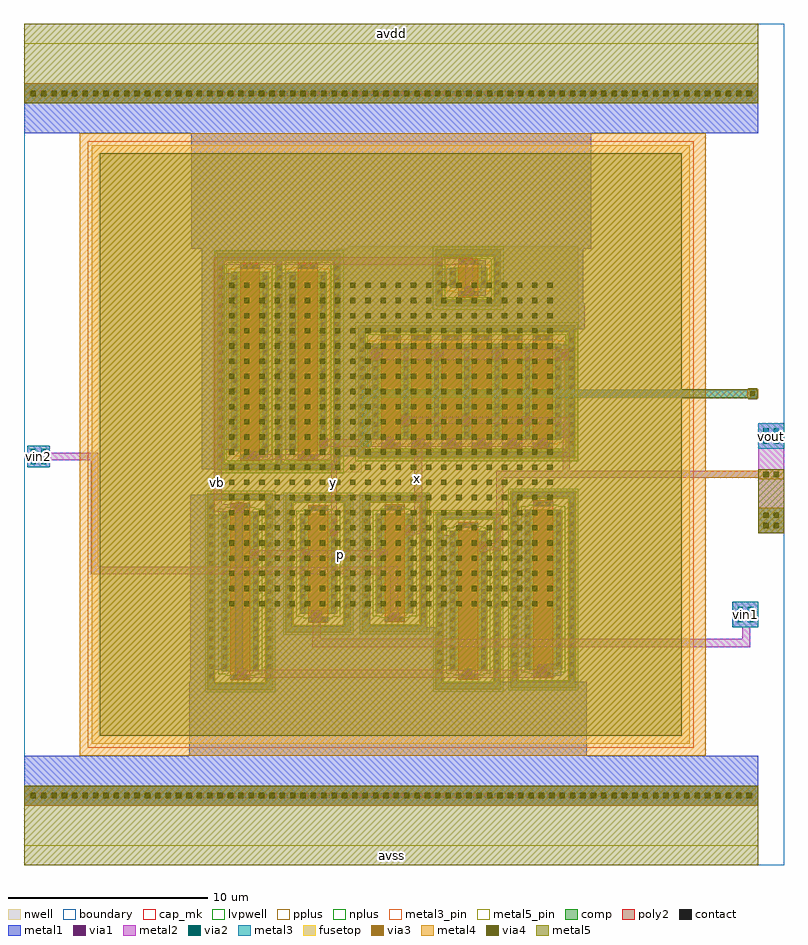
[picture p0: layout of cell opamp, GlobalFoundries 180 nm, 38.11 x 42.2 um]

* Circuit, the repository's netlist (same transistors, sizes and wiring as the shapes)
** sch_path: /foss/designs/libs/snn_analog/sch/opamp/opamp.sch
.subckt opamp avdd avss vin1 vin2 vout
*.PININFO avdd:B avss:B vin1:I vin2:I vout:O
M1 y vin1 net1 avss nfet_03v3 L=1u W=5u nf=1
M2 x vin2 net1 avss nfet_03v3 L=1u W=5u nf=1
M3 y y avdd avdd pfet_03v3 L=1u W=9u nf=1
M4 x y avdd avdd pfet_03v3 L=1u W=9u nf=1
M5 net1 vb avss avss nfet_03v3 L=1u W=8u nf=1
M6 vout x avdd avdd pfet_03v3 L=1u W=28.8u nf=6
M7 vout vb avss avss nfet_03v3 L=1u W=7u nf=1
M8 vb vb avss avss nfet_03v3 L=1u W=8u nf=1
M9 vb vb avdd avdd pfet_03v3 L=1u W=1u nf=1
XC1 x vout cap_mim_2f0fF c_width=30e-6 c_length=30e-6
.ends

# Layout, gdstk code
from math import pi, radians
import gdstk
lib = gdstk.Library(unit=1e-6, precision=1e-09)
def R(c, l, rs):  # rectangles x0, y0, x1, y1
    for r in rs: c.add(gdstk.rectangle(r[:2], r[2:], *l))
def A(c, l, x, y, w, h, nx, ny, dx, dy):  # array of equal rectangles
    R(c, l, [(x+i*dx, y+j*dy, x+i*dx+w, y+j*dy+h) for i in range(nx) for j in range(ny)])
boundary = (0, 0)
nwell = (21, 0)
comp = (22, 0)
poly2 = (30, 0)
pplus = (31, 0)
nplus = (32, 0)
contact = (33, 0)
metal1 = (34, 0)
via1 = (35, 0)
metal2 = (36, 0)
via2 = (38, 0)
via3 = (40, 0)
via4 = (41, 0)
metal3 = (42, 0)
metal3_pin = (42, 10)
metal4 = (46, 0)
fusetop = (75, 0)
metal5 = (81, 0)
metal5_pin = (81, 10)
cap_mk = (117, 5)
lvpwell = (204, 0)

pfet_03v3_u949mw = lib.new_cell('pfet_03v3_U949MW')
R(pfet_03v3_u949mw, boundary, [(-5.25,-3.15,5.25,3.15)])
R(pfet_03v3_u949mw, nwell, [(-5.55,-3.45,5.55,3.45)])
R(pfet_03v3_u949mw, comp, [(-5.43,-3.33,5.43,-2.97), (-5.43,-2.97,-5.07,2.97), (5.07,-2.97,5.43,2.97), (-4.74,-2.4,4.74,2.4), (-5.43,2.97,5.43,3.33)])
A(pfet_03v3_u949mw, poly2, -4.3, -2.86, 1, 5.72, 6, 1, 1.52, 0)
R(pfet_03v3_u949mw, pplus, [(-4.53,-2.63,4.53,-2.56), (-4.9,-2.56,4.9,2.56), (-4.53,2.56,4.53,2.63)])
R(pfet_03v3_u949mw, nplus, [(-5.59,-3.49,5.59,-2.86), (-5.59,-2.86,-4.96,2.86), (4.96,-2.86,5.59,2.86), (-5.59,2.86,5.59,3.49)])
A(pfet_03v3_u949mw, contact, -5.36, -2.695, 0.22, 0.22, 1, 12, 0, 0.47)
A(pfet_03v3_u949mw, contact, 5.14, -2.695, 0.22, 0.22, 1, 12, 0, 0.47)
A(pfet_03v3_u949mw, contact, -4.67, -2.225, 0.22, 0.22, 7, 10, 1.52, 0.47)
R(pfet_03v3_u949mw, contact, [(-4.145,-2.79,-3.925,-2.57), (-3.675,-2.79,-3.455,-2.57), (-2.625,-2.79,-2.405,-2.57), (-2.155,-2.79,-1.935,-2.57), (-1.105,-2.79,-0.885,-2.57), (-0.635,-2.79,-0.415,-2.57), (0.415,-2.79,0.635,-2.57), (0.885,-2.79,1.105,-2.57), (1.935,-2.79,2.155,-2.57), (2.405,-2.79,2.625,-2.57), (3.455,-2.79,3.675,-2.57), (3.925,-2.79,4.145,-2.57), (-4.145,2.57,-3.925,2.79), (-3.675,2.57,-3.455,2.79), (-2.625,2.57,-2.405,2.79), (-2.155,2.57,-1.935,2.79), (-1.105,2.57,-0.885,2.79), (-0.635,2.57,-0.415,2.79), (0.415,2.57,0.635,2.79), (0.885,2.57,1.105,2.79), (1.935,2.57,2.155,2.79), (2.405,2.57,2.625,2.79), (3.455,2.57,3.675,2.79), (3.925,2.57,4.145,2.79)])
A(pfet_03v3_u949mw, metal1, -4.29, -2.795, 0.98, 0.23, 6, 2, 1.52, 5.36)
A(pfet_03v3_u949mw, metal1, -4.675, -2.39, 0.23, 4.78, 7, 1, 1.52, 0)
R(pfet_03v3_u949mw, metal1, [(-5.365,-3.265,5.365,-3.035), (-5.365,-3.035,-5.135,3.035), (5.135,-3.035,5.365,3.035), (-5.365,3.035,5.365,3.265)])

nfet_03v3_ctt5vy = lib.new_cell('nfet_03v3_CTT5VY')
R(nfet_03v3_ctt5vy, boundary, [(-1.45,-3.25,1.45,3.25)])
R(nfet_03v3_ctt5vy, comp, [(-1.63,-3.43,1.63,-3.07), (-1.63,-3.07,-1.27,3.07), (1.27,-3.07,1.63,3.07), (-0.94,-2.5,0.94,2.5), (-1.63,3.07,1.63,3.43)])
R(nfet_03v3_ctt5vy, poly2, [(-0.5,-2.96,0.5,2.96)])
R(nfet_03v3_ctt5vy, pplus, [(-1.65,-3.45,1.65,-3.05), (-1.65,-3.05,-1.24,-2.795), (1.24,-3.05,1.65,-2.795), (-1.66,-2.795,-1.24,2.795), (1.24,-2.795,1.66,2.795), (-1.65,2.795,-1.24,3.05), (1.24,2.795,1.65,3.05), (-1.65,3.05,1.65,3.45)])
R(nfet_03v3_ctt5vy, nplus, [(-0.73,-2.73,0.73,-2.66), (-1.1,-2.66,1.1,2.66), (-0.73,2.66,0.73,2.73)])
A(nfet_03v3_ctt5vy, contact, -1.56, -2.695, 0.22, 0.22, 1, 12, 0, 0.47)
A(nfet_03v3_ctt5vy, contact, 1.34, -2.695, 0.22, 0.22, 1, 12, 0, 0.47)
A(nfet_03v3_ctt5vy, contact, -0.87, -2.225, 0.22, 0.22, 1, 10, 0, 0.47)
A(nfet_03v3_ctt5vy, contact, 0.65, -2.225, 0.22, 0.22, 1, 10, 0, 0.47)
R(nfet_03v3_ctt5vy, contact, [(-0.345,-2.89,-0.125,-2.67), (0.125,-2.89,0.345,-2.67), (-0.345,2.67,-0.125,2.89), (0.125,2.67,0.345,2.89)])
R(nfet_03v3_ctt5vy, metal1, [(-1.565,-3.365,1.565,-3.135), (-1.565,-3.135,-1.335,3.135), (1.335,-3.135,1.565,3.135), (-0.49,-2.895,0.49,-2.665), (-0.875,-2.49,-0.645,2.49), (0.645,-2.49,0.875,2.49), (-0.49,2.665,0.49,2.895), (-1.565,3.135,1.565,3.365)])
R(nfet_03v3_ctt5vy, lvpwell, [(-1.75,-3.55,1.75,3.55)])

pfet_03v3_5mdbd5 = lib.new_cell('pfet_03v3_5MDBD5')
R(pfet_03v3_5mdbd5, boundary, [(-1.45,-5.25,1.45,5.25)])
R(pfet_03v3_5mdbd5, nwell, [(-1.75,-5.55,1.75,5.55)])
R(pfet_03v3_5mdbd5, comp, [(-1.63,-5.43,1.63,-5.07), (-1.63,-5.07,-1.27,5.07), (1.27,-5.07,1.63,5.07), (-0.94,-4.5,0.94,4.5), (-1.63,5.07,1.63,5.43)])
R(pfet_03v3_5mdbd5, poly2, [(-0.5,-4.96,0.5,4.96)])
R(pfet_03v3_5mdbd5, pplus, [(-0.73,-4.73,0.73,-4.66), (-1.1,-4.66,1.1,4.66), (-0.73,4.66,0.73,4.73)])
R(pfet_03v3_5mdbd5, nplus, [(-1.79,-5.59,1.79,-4.96), (-1.79,-4.96,-1.16,4.96), (1.16,-4.96,1.79,4.96), (-1.79,4.96,1.79,5.59)])
A(pfet_03v3_5mdbd5, contact, -1.56, -4.81, 0.22, 0.22, 1, 21, 0, 0.47)
A(pfet_03v3_5mdbd5, contact, 1.34, -4.81, 0.22, 0.22, 1, 21, 0, 0.47)
A(pfet_03v3_5mdbd5, contact, -0.87, -4.34, 0.22, 0.22, 1, 19, 0, 0.47)
A(pfet_03v3_5mdbd5, contact, 0.65, -4.34, 0.22, 0.22, 1, 19, 0, 0.47)
R(pfet_03v3_5mdbd5, contact, [(-0.345,-4.89,-0.125,-4.67), (0.125,-4.89,0.345,-4.67), (-0.345,4.67,-0.125,4.89), (0.125,4.67,0.345,4.89)])
R(pfet_03v3_5mdbd5, metal1, [(-1.565,-5.365,1.565,-5.135), (-1.565,-5.135,-1.335,5.135), (1.335,-5.135,1.565,5.135), (-0.49,-4.895,0.49,-4.665), (-0.875,-4.49,-0.645,4.49), (0.645,-4.49,0.875,4.49), (-0.49,4.665,0.49,4.895), (-1.565,5.135,1.565,5.365)])

nfet_03v3_jwtltl = lib.new_cell('nfet_03v3_JWTLTL')
R(nfet_03v3_jwtltl, boundary, [(-1.45,-4.75,1.45,4.75)])
R(nfet_03v3_jwtltl, comp, [(-1.63,-4.93,1.63,-4.57), (-1.63,-4.57,-1.27,4.57), (1.27,-4.57,1.63,4.57), (-0.94,-4,0.94,4), (-1.63,4.57,1.63,4.93)])
R(nfet_03v3_jwtltl, poly2, [(-0.5,-4.46,0.5,4.46)])
R(nfet_03v3_jwtltl, pplus, [(-1.65,-4.95,1.65,-4.55), (-1.65,-4.55,-1.24,-4.44), (1.24,-4.55,1.65,-4.44), (-1.66,-4.44,-1.24,4.44), (1.24,-4.44,1.66,4.44), (-1.65,4.44,-1.24,4.55), (1.24,4.44,1.65,4.55), (-1.65,4.55,1.65,4.95)])
R(nfet_03v3_jwtltl, nplus, [(-0.73,-4.23,0.73,-4.16), (-1.1,-4.16,1.1,4.16), (-0.73,4.16,0.73,4.23)])
A(nfet_03v3_jwtltl, contact, -1.56, -4.34, 0.22, 0.22, 1, 19, 0, 0.47)
A(nfet_03v3_jwtltl, contact, 1.34, -4.34, 0.22, 0.22, 1, 19, 0, 0.47)
A(nfet_03v3_jwtltl, contact, -0.87, -3.87, 0.22, 0.22, 1, 17, 0, 0.47)
A(nfet_03v3_jwtltl, contact, 0.65, -3.87, 0.22, 0.22, 1, 17, 0, 0.47)
R(nfet_03v3_jwtltl, contact, [(-0.345,-4.39,-0.125,-4.17), (0.125,-4.39,0.345,-4.17), (-0.345,4.17,-0.125,4.39), (0.125,4.17,0.345,4.39)])
R(nfet_03v3_jwtltl, metal1, [(-1.565,-4.865,1.565,-4.635), (-1.565,-4.635,-1.335,4.635), (1.335,-4.635,1.565,4.635), (-0.49,-4.395,0.49,-4.165), (-0.875,-3.99,-0.645,3.99), (0.645,-3.99,0.875,3.99), (-0.49,4.165,0.49,4.395), (-1.565,4.635,1.565,4.865)])
R(nfet_03v3_jwtltl, lvpwell, [(-1.75,-5.05,1.75,5.05)])

via_dev = lib.new_cell('via_dev')
R(via_dev, metal2, [(0,0,1.08,1.13)])
R(via_dev, via2, [(0.15,0.175,0.41,0.435), (0.67,0.175,0.93,0.435), (0.15,0.695,0.41,0.955), (0.67,0.695,0.93,0.955)])
R(via_dev, metal3, [(0,0,1.08,1.13)])

via_dev_1 = lib.new_cell('via_dev$1')
R(via_dev_1, via4, [(0.12,0.255,0.38,0.515), (0.12,0.775,0.38,1.035)])
R(via_dev_1, metal4, [(0,0,0.5,1.29)])
R(via_dev_1, metal5, [(0,0,0.5,1.29)])

via_dev_12_1 = lib.new_cell('via_dev$12$1')
R(via_dev_12_1, metal2, [(0,0,1.285,1.29)])
R(via_dev_12_1, via2, [(0.25,0.255,0.51,0.515), (0.77,0.255,1.03,0.515), (0.25,0.775,0.51,1.035), (0.77,0.775,1.03,1.035)])
R(via_dev_12_1, metal3, [(0,0,1.285,1.29)])

nfet_03v3_hvw9xu = lib.new_cell('nfet_03v3_HVW9XU')
R(nfet_03v3_hvw9xu, boundary, [(-1.45,-4.25,1.45,4.25)])
R(nfet_03v3_hvw9xu, comp, [(-1.63,-4.43,1.63,-4.07), (-1.63,-4.07,-1.27,4.07), (1.27,-4.07,1.63,4.07), (-0.94,-3.5,0.94,3.5), (-1.63,4.07,1.63,4.43)])
R(nfet_03v3_hvw9xu, poly2, [(-0.5,-3.96,0.5,3.96)])
R(nfet_03v3_hvw9xu, pplus, [(-1.65,-4.45,1.65,-4.05), (-1.65,-4.05,-1.24,-3.735), (1.24,-4.05,1.65,-3.735), (-1.66,-3.735,-1.24,3.735), (1.24,-3.735,1.66,3.735), (-1.65,3.735,-1.24,4.05), (1.24,3.735,1.65,4.05), (-1.65,4.05,1.65,4.45)])
R(nfet_03v3_hvw9xu, nplus, [(-0.73,-3.73,0.73,-3.66), (-1.1,-3.66,1.1,3.66), (-0.73,3.66,0.73,3.73)])
A(nfet_03v3_hvw9xu, contact, -1.56, -3.635, 0.22, 0.22, 1, 16, 0, 0.47)
A(nfet_03v3_hvw9xu, contact, 1.34, -3.635, 0.22, 0.22, 1, 16, 0, 0.47)
A(nfet_03v3_hvw9xu, contact, -0.87, -3.4, 0.22, 0.22, 1, 15, 0, 0.47)
A(nfet_03v3_hvw9xu, contact, 0.65, -3.4, 0.22, 0.22, 1, 15, 0, 0.47)
R(nfet_03v3_hvw9xu, contact, [(-0.345,-3.89,-0.125,-3.67), (0.125,-3.89,0.345,-3.67), (-0.345,3.67,-0.125,3.89), (0.125,3.67,0.345,3.89)])
R(nfet_03v3_hvw9xu, metal1, [(-1.565,-4.365,1.565,-4.135), (-1.565,-4.135,-1.335,4.135), (1.335,-4.135,1.565,4.135), (-0.49,-3.895,0.49,-3.665), (-0.875,-3.49,-0.645,3.49), (0.645,-3.49,0.875,3.49), (-0.49,3.665,0.49,3.895), (-1.565,4.135,1.565,4.365)])
R(nfet_03v3_hvw9xu, lvpwell, [(-1.75,-4.55,1.75,4.55)])

via_dev_13 = lib.new_cell('via_dev$13')
R(via_dev_13, metal2, [(0,0,1.29,1.29)])
R(via_dev_13, via2, [(0.255,0.255,0.515,0.515), (0.775,0.255,1.035,0.515), (0.255,0.775,0.515,1.035), (0.775,0.775,1.035,1.035)])
R(via_dev_13, metal3, [(0,0,1.29,1.29)])

via_dev_15 = lib.new_cell('via_dev$15')
R(via_dev_15, metal2, [(0,0,1.29,1.29)])
R(via_dev_15, via2, [(0.255,0.255,0.515,0.515), (0.775,0.255,1.035,0.515), (0.255,0.775,0.515,1.035), (0.775,0.775,1.035,1.035)])
R(via_dev_15, via3, [(0.255,0.255,0.515,0.515), (0.775,0.255,1.035,0.515), (0.255,0.775,0.515,1.035), (0.775,0.775,1.035,1.035)])
R(via_dev_15, via4, [(0.255,0.255,0.515,0.515), (0.775,0.255,1.035,0.515), (0.255,0.775,0.515,1.035), (0.775,0.775,1.035,1.035)])
R(via_dev_15, metal3, [(0,0,1.29,1.29)])
R(via_dev_15, metal4, [(0,0,1.29,1.29)])
R(via_dev_15, metal5, [(0,0,1.29,1.29)])

via_dev_7 = lib.new_cell('via_dev$7')
R(via_dev_7, metal1, [(0,0,1,36.815)])
A(via_dev_7, via1, 0.37, 0.255, 0.26, 0.26, 1, 69, 0, 0.53)
R(via_dev_7, metal2, [(0,0,1,36.815)])
A(via_dev_7, via2, 0.37, 0.335, 0.26, 0.26, 1, 70, 0, 0.52)
A(via_dev_7, via3, 0.37, 0.335, 0.26, 0.26, 1, 70, 0, 0.52)
A(via_dev_7, via4, 0.37, 0.335, 0.26, 0.26, 1, 70, 0, 0.52)
R(via_dev_7, metal3, [(0,0,1,36.815)])
R(via_dev_7, metal4, [(0,0,1,36.815)])
R(via_dev_7, metal5, [(0,0,1,36.815)])

pfet_03v3_9trv9f = lib.new_cell('pfet_03v3_9TRV9F')
R(pfet_03v3_9trv9f, boundary, [(-1.45,-1.25,1.45,1.25)])
R(pfet_03v3_9trv9f, nwell, [(-1.75,-1.55,1.75,1.55)])
R(pfet_03v3_9trv9f, comp, [(-1.63,-1.43,1.63,-1.07), (-1.63,-1.07,-1.27,1.07), (1.27,-1.07,1.63,1.07), (-0.94,-0.5,0.94,0.5), (-1.63,1.07,1.63,1.43)])
R(pfet_03v3_9trv9f, poly2, [(-0.5,-0.96,0.5,0.96)])
R(pfet_03v3_9trv9f, pplus, [(-0.73,-0.73,0.73,-0.66), (-1.1,-0.66,1.1,0.66), (-0.73,0.66,0.73,0.73)])
R(pfet_03v3_9trv9f, nplus, [(-1.79,-1.59,1.79,-0.96), (-1.79,-0.96,-1.16,0.96), (1.16,-0.96,1.79,0.96), (-1.79,0.96,1.79,1.59)])
A(pfet_03v3_9trv9f, contact, -1.56, -0.815, 0.22, 0.22, 1, 4, 0, 0.47)
A(pfet_03v3_9trv9f, contact, 1.34, -0.815, 0.22, 0.22, 1, 4, 0, 0.47)
R(pfet_03v3_9trv9f, contact, [(-0.345,-0.89,-0.125,-0.67), (0.125,-0.89,0.345,-0.67), (-0.87,-0.345,-0.65,-0.125), (0.65,-0.345,0.87,-0.125), (-0.87,0.125,-0.65,0.345), (0.65,0.125,0.87,0.345), (-0.345,0.67,-0.125,0.89), (0.125,0.67,0.345,0.89)])
R(pfet_03v3_9trv9f, metal1, [(-1.565,-1.365,1.565,-1.135), (-1.565,-1.135,-1.335,1.135), (1.335,-1.135,1.565,1.135), (-0.49,-0.895,0.49,-0.665), (-0.875,-0.49,-0.645,0.49), (0.645,-0.49,0.875,0.49), (-0.49,0.665,0.49,0.895), (-1.565,1.135,1.565,1.365)])

cap_mim_2p0ff_lvjl5f = lib.new_cell('cap_mim_2p0fF_LVJL5F')
R(cap_mim_2p0ff_lvjl5f, boundary, [(-16.2,-15.6,15,15.6)])
A(cap_mim_2p0ff_lvjl5f, via4, -8.71, -8.11, 0.26, 0.26, 22, 22, 0.76, 0.76)
R(cap_mim_2p0ff_lvjl5f, metal4, [(-16.2,-15.6,15.2,15.6)])
R(cap_mim_2p0ff_lvjl5f, fusetop, [(-15.6,-15,14.4,15)])
R(cap_mim_2p0ff_lvjl5f, metal5, [(-15.2,-14.6,14,14.6)])
R(cap_mim_2p0ff_lvjl5f, cap_mk, [(-15.8,-15.2,14.6,15.2)])

opamp = lib.new_cell('opamp')
R(opamp, boundary, [(0,0,38.105,42.2)])
R(opamp, nwell, [(15.65,19.7,16.935,27.02), (15.65,27.02,27.81,28.19), (15.65,28.19,20.665,30.91), (23.85,28.19,27.79,31.04), (16.28,30.91,20.665,31.04)])
R(opamp, pplus, [(20.235,11.69,20.615,12.345), (20.245,12.345,20.615,17), (20.245,17,20.625,17.715)])
R(opamp, metal1, [(0,3.5,36.815,5.5), (8.295,5.5,28.205,8.985), (8.295,8.985,9.57,9.195), (12.18,8.985,28.205,9.105), (12.18,9.105,20.935,9.195), (23.615,9.105,28.205,9.195), (8.34,9.195,9.415,9.8), (12.28,9.195,20.82,10.005), (22.095,9.36,22.485,9.855), (10.635,9.405,11.145,9.46), (10.595,9.46,11.145,9.795), (26.14,9.5,26.94,9.625), (25.74,9.625,26.94,10.015), (10.595,9.795,10.98,17.735), (8.34,9.8,10.145,17.57), (24.455,9.955,25.31,17.62), (12.28,10.005,21.57,11.785), (26.14,10.015,26.94,10.1), (12.26,11.785,21.57,11.94), (12.26,11.94,13.365,12.72), (16.09,11.94,17.35,17.815), (20.72,11.94,21.57,16.56), (18.315,12.235,18.825,12.665), (14.405,12.335,14.935,12.79), (12.28,12.72,13.365,17.5), (13.89,15.38,14.325,15.86), (11.33,15.395,11.77,15.845), (17.715,15.395,18.15,15.435), (17.71,15.435,18.15,15.805), (22.82,15.73,23.23,16.22), (17.715,15.805,18.15,15.845), (15.335,16.5,15.74,16.825), (19.145,16.54,19.58,17.055), (12.26,17.5,13.365,18.59), (8.34,17.57,9.415,18.575), (10.545,17.735,11.06,18.1), (16.245,17.815,17.35,18.575), (10.595,18.1,10.98,18.11), (8.9,19.87,9.88,20.825), (11.175,20.42,11.54,20.455), (11.175,20.455,12.21,20.735), (13.93,20.455,14.335,20.77), (15.68,20.5,16.955,21.4), (11.175,20.735,11.54,20.76), (11.93,20.735,12.21,21.03), (12.695,20.77,12.88,20.835), (8.9,20.825,10.665,29.68), (12.695,20.835,13.62,29.7), (14.82,20.91,15.235,21.435), (18.15,20.945,18.535,20.96), (21.23,20.945,21.615,20.975), (22.715,20.945,23.125,21.425), (24.285,20.945,24.695,21.425), (25.815,20.945,26.265,21.425), (18.135,20.96,18.55,21.485), (21.19,20.975,21.655,21.37), (19.505,20.98,20.04,21.405), (21.23,21.37,21.615,21.41), (15.68,21.4,17.69,25.335), (26.64,21.45,27.59,26.1), (18.95,22.06,19.34,22.55), (21.96,22.065,22.385,22.55), (24.995,22.08,25.485,22.525), (20.45,25.29,21.045,25.855), (23.465,25.315,24.06,25.88), (15.68,25.335,17.985,25.9), (15.68,25.9,17.69,26.05), (15.68,26.05,16.955,26.86), (15.68,26.86,20.78,26.875), (15.68,26.875,28.105,28.19), (15.68,28.19,20.78,29.05), (23.73,28.19,28.05,30.635), (22.51,28.565,23.145,28.675), (22.085,28.675,23.145,28.795), (22.085,28.795,22.57,29.04), (22.91,28.795,23.145,29.1), (15.68,29.05,21.64,29.9), (22.915,29.1,23.145,30.115), (8.9,29.68,9.88,30.545), (12.695,29.7,12.89,29.755), (15.68,29.9,20.78,30.545), (22.76,30.115,23.145,30.12), (21.965,30.12,23.145,30.35), (8.9,30.545,20.78,30.635), (8.9,30.635,28.05,30.91), (8.375,30.91,28.435,36.7), (0,36.7,36.815,38.7)])
R(opamp, via1, [(10.76,9.47,11.02,9.73), (22.16,9.47,22.42,9.73), (25.865,9.69,26.125,9.95), (18.435,12.335,18.695,12.595), (14.54,12.415,14.8,12.675), (11.42,15.49,11.68,15.75), (13.98,15.49,14.24,15.75), (17.8,15.49,18.06,15.75), (22.905,15.845,23.165,16.105), (15.405,16.55,15.665,16.81), (19.24,16.665,19.5,16.925), (10.67,17.785,10.93,18.045), (11.245,20.465,11.505,20.725), (14,20.475,14.26,20.735), (14.895,21.04,15.155,21.3), (21.29,21.04,21.55,21.3), (22.785,21.04,23.045,21.3), (24.355,21.04,24.615,21.3), (25.885,21.04,26.145,21.3), (18.21,21.045,18.47,21.305), (19.635,21.045,19.895,21.305), (19.005,22.175,19.265,22.435), (22.055,22.175,22.315,22.435), (25.11,22.175,25.37,22.435), (17.57,25.46,17.83,25.72), (20.625,25.47,20.885,25.73), (23.63,25.47,23.89,25.73), (26.945,25.47,27.205,25.73), (22.195,28.725,22.455,28.985)])
R(opamp, metal2, [(10.685,9.345,11.095,9.395), (10.685,9.395,26.2,9.805), (10.685,9.805,11.095,9.89), (25.79,9.805,26.2,10.105), (14.46,10.945,36.41,11.35), (14.465,11.35,14.875,12.335), (36,11.35,36.41,11.935), (35.525,11.935,36.815,13.22), (18.315,12.23,18.825,12.665), (14.405,12.335,14.935,12.79), (18.375,12.665,18.76,14.595), (3.34,14.595,18.76,14.98), (3.34,14.98,3.725,20.305), (18.375,14.98,18.76,14.99), (13.89,15.38,14.325,15.44), (11.33,15.395,11.77,15.44), (17.715,15.395,18.15,15.44), (11.33,15.44,18.25,15.8), (22.82,15.73,23.23,15.8), (11.33,15.8,11.77,15.845), (13.89,15.8,14.325,15.86), (17.715,15.8,18.15,15.845), (22.82,15.8,24.04,16.15), (22.82,16.15,23.23,16.22), (23.69,16.15,24.04,19.425), (15.335,16.5,15.74,16.825), (19.145,16.54,19.58,16.605), (19.14,16.605,19.96,16.99), (15.395,16.825,15.675,20.325), (19.145,16.99,19.96,17.055), (19.575,17.055,19.96,20.98), (10.625,17.67,11.01,17.675), (10.595,17.675,11.01,17.725), (9.52,17.725,11.01,18.11), (36.815,17.94,38.105,19.425), (9.52,18.11,9.905,30.11), (10.595,18.11,11.01,18.16), (10.625,18.16,11.01,18.22), (23.69,19.425,38.105,19.775), (25.065,19.775,25.415,19.795), (27.01,19.775,27.36,22.11), (36.815,19.775,38.105,20.875), (0.16,19.955,1.29,20.305), (0.16,20.305,3.725,20.685), (13.975,20.325,15.675,20.335), (11.235,20.335,15.675,20.42), (11.175,20.42,15.675,20.605), (11.175,20.605,14.335,20.615), (14.89,20.605,15.675,20.615), (11.175,20.615,11.54,20.76), (13.93,20.615,14.335,20.77), (0.16,20.685,1.29,21.035), (11.235,20.76,11.515,20.79), (14.82,20.91,15.235,20.98), (16.945,20.93,17.36,20.98), (21.235,20.935,21.61,20.945), (21.195,20.945,21.655,20.98), (22.715,20.945,23.125,20.98), (24.285,20.945,24.695,20.98), (25.815,20.945,26.265,20.98), (18.135,20.96,18.55,20.98), (14.795,20.98,26.265,21.365), (14.82,21.365,15.235,21.435), (16.945,21.365,17.36,21.415), (18.11,21.365,20.04,21.37), (21.195,21.365,21.655,21.41), (22.715,21.365,23.125,21.425), (24.285,21.365,24.695,21.425), (25.815,21.365,26.265,21.425), (18.135,21.37,18.55,21.485), (19.505,21.37,20.04,21.405), (25.065,22.035,25.415,22.08), (18.95,22.06,19.34,22.13), (21.96,22.065,22.385,22.13), (24.995,22.08,25.485,22.11), (24.88,22.11,27.36,22.13), (18.92,22.13,27.36,22.46), (18.92,22.46,25.485,22.48), (18.95,22.48,19.34,22.55), (21.96,22.48,22.385,22.55), (24.995,22.48,25.485,22.525), (17.39,25.335,27.32,25.865), (22.135,28.615,22.52,30.11), (9.52,30.11,22.52,30.495)])
R(opamp, via2, [(17.02,21.04,17.28,21.3)])
R(opamp, via3, [(36.405,23.515,36.665,23.775)])
R(opamp, via4, [(36.41,23.52,36.67,23.78)])
R(opamp, metal3, [(35.52,11.935,36.815,13.215), (0.16,19.955,1.29,21.035), (36.815,20.875,38.105,22.165), (16.895,20.98,17.41,21.365), (16.96,21.365,17.345,23.455), (16.96,23.455,36.78,23.84)])
R(opamp, metal3_pin, [(35.52,11.935,36.81,13.215), (0.16,19.955,1.29,21.035), (36.815,20.875,38.105,22.16)])
R(opamp, metal4, [(32.465,19.425,36.815,19.775), (36.345,23.405,36.73,23.43), (36.27,23.43,36.81,23.87), (36.345,23.87,36.73,23.89)])
R(opamp, metal5, [(0,0,36.815,3), (36.815,17.94,38.105,19.825), (36.32,23.38,36.76,23.43), (32.32,23.43,36.76,23.87), (36.32,23.87,36.76,23.92), (0,39.2,36.815,42.2)])
R(opamp, metal5_pin, [(0,0,36.815,1), (0,41.2,36.815,42.2)])
opamp.add(gdstk.Reference(pfet_03v3_u949mw, (22.2,23.75)))
opamp.add(gdstk.Reference(nfet_03v3_ctt5vy, (18.585,15.14), rotation=pi, x_reflection=True))
opamp.add(gdstk.Reference(nfet_03v3_ctt5vy, (14.755,15.12), rotation=pi, x_reflection=True))
opamp.add(gdstk.Reference(pfet_03v3_5mdbd5, (14.23,25.25), rotation=pi, x_reflection=True))
opamp.add(gdstk.Reference(pfet_03v3_5mdbd5, (11.33,25.25), rotation=pi, x_reflection=True))
opamp.add(gdstk.Reference(nfet_03v3_jwtltl, (10.84,13.73), rotation=pi, x_reflection=True))
opamp.add(gdstk.Reference(via_dev, (1.29,19.955), rotation=pi/2))
opamp.add(gdstk.Reference(via_dev_1, (38.105,19.35), rotation=pi/2))
opamp.add(gdstk.Reference(via_dev_12_1, (36.815,11.935), rotation=pi/2))
opamp.add(gdstk.Reference(nfet_03v3_hvw9xu, (22.275,13.265), rotation=pi, x_reflection=True))
opamp.add(gdstk.Reference(nfet_03v3_jwtltl, (26.035,13.84), rotation=pi, x_reflection=True))
opamp.add(gdstk.Reference(via_dev_13, (38.105,20.875), rotation=pi/2))
opamp.add(gdstk.Reference(via_dev_15, (38.105,16.65), rotation=pi/2))
opamp.add(gdstk.Reference(via_dev_7, (36.815,3), rotation=pi/2))
opamp.add(gdstk.Reference(via_dev_7, (36.815,38.2), rotation=pi/2))
opamp.add(gdstk.Reference(pfet_03v3_9trv9f, (22.275,29.45), rotation=pi, x_reflection=True))
opamp.add(gdstk.Reference(cap_mim_2p0ff_lvjl5f, (18.99,21.1)))
opamp.add(gdstk.Label('x', (19.73,19.415), layer=36, texttype=0))
opamp.add(gdstk.Label('y', (15.515,19.21), layer=36, texttype=0))
opamp.add(gdstk.Label('p', (15.88,15.58), layer=36, texttype=0))
opamp.add(gdstk.Label('vb', (9.68,19.2), layer=36, texttype=0))
opamp.add(gdstk.Label('avdd', (18.407,41.7), layer=81, texttype=10))
opamp.add(gdstk.Label('avss', (18.407,0.5), layer=81, texttype=10))
opamp.add(gdstk.Label('vout', (37.46,21.517), layer=42, texttype=10))
opamp.add(gdstk.Label('vin1', (36.165,12.575), layer=42, texttype=10))
opamp.add(gdstk.Label('vin2', (0.725,20.495), layer=42, texttype=10))

lib.write_gds('opamp.gds')
